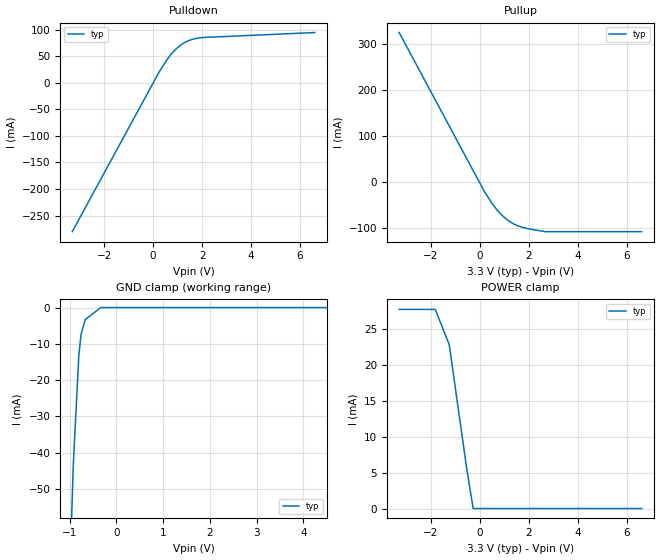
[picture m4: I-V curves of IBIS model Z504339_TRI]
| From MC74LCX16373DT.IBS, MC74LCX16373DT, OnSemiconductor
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| (C) COPYRIGHT 1993-2000
| MENTOR GRAPHICS CORPORATION
| ICX STANDARD LIBRARY, ICX PROJECT MODELING,
| ICX CUSTOM MODELING, ICX VENDOR MODEL
| ALL RIGHTS RESERVED.
| THE FOLLOWING ARE TRADEMARKS OR SERVICE MARKS OF
| MENTOR GRAPHICS CORPORATION:ICX (R), ICX STANDARD
| LIBRARY(R), ICX PROJECT MODELING(R), ICX CUSTOM
| MODELING(R), qualityIBIS(TM), MODELVIEWER(TM),
| AND MODELEDITOR(TM)
| ALL COPIES OF SOFTWARE, INCLUDING BUT NOT LIMITED TO
| ANY MODIFICATIONS, ENHANCEMENTS OR DERIVATIVE WORKS,
| MUST CONTAIN ALL MENTOR GRAPHICS CORPORATION'S
| NOTICES AND LEGENDS, INCLUDING THOSE EMBEDDED IN
| SOFTWARE AND THOSE AFFIXED TO SOFTWARE MEDIUM
| AND CONTAINER, AS RECEIVED FROM MENTOR GRAPHICS
| CORPORATION.
| Model Application Version 1.89 2/18/99.
[Model] Z504339_TRI
Model_type 3-state
Vref=0.000V
Rref=500.0ohms
Cref=50.00pF
Vmeas=1.500V
C_comp 8.000pF NA NA
| variable typ   min   max
[Voltage Range] 3.300V NA NA
[POWER Clamp Reference] 3.300V NA NA
[Pullup Reference] 3.300V NA NA
[Pulldown Reference] 0.000V NA NA
[GND Clamp Reference] 0.000V NA NA
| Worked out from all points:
|   slope of the pulldown table from 0 to 0.495 V, typ, clamps not added: 12.8 ohm
|   slope of the pullup table from 0 to 0.495 V, typ, clamps not added: 11.3 ohm
[GND Clamp]
-3.3V     -1.284A    NA         NA
-1.074V   -106.6mA   NA         NA
-918mV    -43.04mA   NA         NA
-800.2mV  -13.1mA    NA         NA
-752mV    -7.298mA   NA         NA
-664.6mV  -3.32mA    NA         NA
-332.3mV  0A         NA         NA
6.6V      0A         NA         NA
[Pulldown]
-3.3V     -280.4mA   NA         NA
244.1mV   20.53mA    NA         NA
596.1mV   45.9mA     NA         NA
747.1mV   54.92mA    NA         NA
1.069V    69.42mA    NA         NA
1.437V    79.58mA    NA         NA
2.031V    85.73mA    NA         NA
6.6V      95.06mA    NA         NA
[Pullup]
-3.3V     325.4mA    NA         NA
175mV     -19.68mA   NA         NA
507mV     -47.13mA   NA         NA
712mV     -61.16mA   NA         NA
1.127V    -82.24mA   NA         NA
1.591V    -95.45mA   NA         NA
2.629V    -107.3mA   NA         NA
6.6V      -107.3mA   NA         NA
[POWER Clamp]
-3.3V     27.78mA    NA         NA
-1.827V   27.78mA    NA         NA
-1.256V   22.88mA    NA         NA
-557mV    5.924mA    NA         NA
-278.5mV  0A         NA         NA
6.6V      0A         NA         NA
[Ramp]
| variable typ min max
dV/dt_r 1.953/335.9p NA NA
dV/dt_f 1.953/444.5p NA NA
R_load = 500.0Ohms
